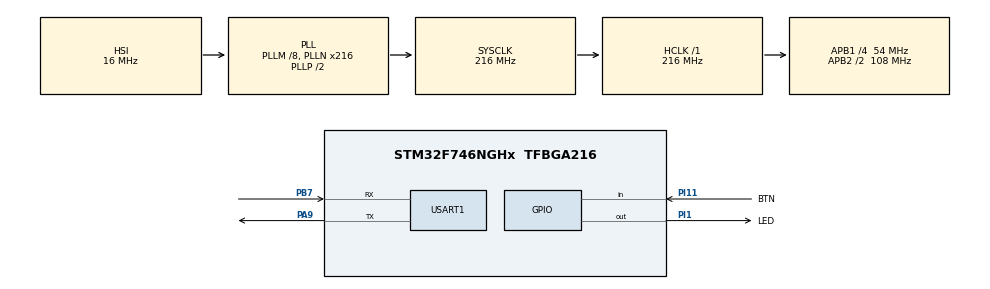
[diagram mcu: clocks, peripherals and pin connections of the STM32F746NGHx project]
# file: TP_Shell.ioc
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FREERTOS.Tasks01=defaultTask,0,128,StartDefaultTask,Default,NULL,Dynamic,NULL,NULL
FREERTOS.configCHECK_FOR_STACK_OVERFLOW=2
FREERTOS.configGENERATE_RUN_TIME_STATS=1
FREERTOS.configTOTAL_HEAP_SIZE=30720
FREERTOS.configUSE_NEWLIB_REENTRANT=1
FREERTOS.configUSE_STATS_FORMATTING_FUNCTIONS=1
FREERTOS.configUSE_TRACE_FACILITY=1
Mcu.Family=STM32F7
Mcu.Name=STM32F746NGHx
Mcu.Package=TFBGA216
NVIC.PriorityGroup=NVIC_PRIORITYGROUP_4
NVIC.USART1_IRQn=true\:5\:0\:false\:false\:true\:true\:true\:true\:true
PA13.Mode=Trace_Asynchronous_SW
PA13.Signal=SYS_JTMS-SWDIO
PA14.Mode=Trace_Asynchronous_SW
PA14.Signal=SYS_JTCK-SWCLK
PA9.Mode=Asynchronous
PA9.Signal=USART1_TX
PB3.Mode=Trace_Asynchronous_SW
PB3.Signal=SYS_JTDO-SWO
PB7.Mode=Asynchronous
PB7.Signal=USART1_RX
PH0/OSC_IN.Mode=HSE-External-Oscillator
PH0/OSC_IN.Signal=RCC_OSC_IN
PH1/OSC_OUT.Mode=HSE-External-Oscillator
PH1/OSC_OUT.Signal=RCC_OSC_OUT
PI1.GPIO_Label=LED
PI1.Signal=GPIO_Output
PI11.GPIO_Label=BTN
PI11.Signal=GPIO_Input
ProjectManager.HeapSize=0x400
ProjectManager.StackSize=0x800
ProjectManager.TargetToolchain=STM32CubeIDE
RCC.AHBFreq_Value=216000000
RCC.APB1CLKDivider=RCC_HCLK_DIV4
RCC.APB1Freq_Value=54000000
RCC.APB1TimFreq_Value=108000000
RCC.APB2CLKDivider=RCC_HCLK_DIV2
RCC.APB2Freq_Value=108000000
RCC.APB2TimFreq_Value=216000000
RCC.CortexFreq_Value=216000000
RCC.HCLKFreq_Value=216000000
RCC.HSE_VALUE=25000000
RCC.HSI_VALUE=16000000
RCC.LSE_VALUE=32768
RCC.PLLM=8
RCC.PLLN=216
RCC.PLLSourceVirtual=RCC_PLLSOURCE_HSI
RCC.SYSCLKFreq_VALUE=216000000
RCC.SYSCLKSource=RCC_SYSCLKSOURCE_PLLCLK
RCC.USBFreq_Value=216000000
RCC.VCOOutputFreq_Value=432000000
TIM2.Period=0xffffffff
TIM2.Prescaler=107
USART1.VirtualMode-Asynchronous=VM_ASYNC
VP_FREERTOS_VS_CMSIS_V1.Mode=CMSIS_V1
VP_TIM2_VS_ClockSourceINT.Mode=Internal
board=STM32F746G-DISCO

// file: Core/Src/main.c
/* USER CODE BEGIN Header */
/**
 ******************************************************************************
 * @file           : main.c
 * @brief          : Main program body
 ******************************************************************************
 * @attention
 *
 * Copyright (c) 2025 STMicroelectronics.
 * All rights reserved.
 *
 * This software is licensed under terms that can be found in the LICENSE file
 * in the root directory of this software component.
 * If no LICENSE file comes with this software, it is provided AS-IS.
 *
 ******************************************************************************
 */
/* USER CODE END Header */
#include "main.h"
#include "cmsis_os.h"
#include "tim.h"
#include "usart.h"
#include "gpio.h"

/* USER CODE BEGIN Includes */
#include "shell.h"
#include <stdio.h>
#include <stdlib.h>
#include <string.h>
/* USER CODE END Includes */

/* USER CODE BEGIN PV */
h_shell_t h_shell;

TaskHandle_t LedTaskHandle;
TaskHandle_t TaskGiveHandle;
TaskHandle_t TaskTakeHandle;
TaskHandle_t ShellTaskHandle;
TaskHandle_t ErrorTaskHandle;
xQueueHandle QueueTask;
/* USER CODE END PV */

void SystemClock_Config(void);
void MX_FREERTOS_Init(void);
/* USER CODE BEGIN PFP */
void StartLedTask(void *argument);
void TaskGive(void *argument);
void TaskTake(void *argument);
void taskShell(void *argument);
/* USER CODE END PFP */

/* USER CODE BEGIN 0 */

int __io_putchar(int ch)
{
	HAL_UART_Transmit(&huart1, (uint8_t*)&ch, 1, HAL_MAX_DELAY);

	return ch;
}

uint32_t led_delay_ms = 100;

void StartLedTask(void *argument) {
	uint8_t ledState = 0;
	printf("Entering LedTask\n");
	for (;;) {
		ledState = !ledState;
		HAL_GPIO_WritePin(LED_GPIO_Port, LED_Pin, ledState ? GPIO_PIN_SET : GPIO_PIN_RESET);
		//printf("LED : %s\r\n", ledState ? "ON" : "OFF");
		vTaskDelay(pdMS_TO_TICKS(led_delay_ms));
	}
}

void TaskGive(void *argument) {
	uint32_t delay = 100;
	for (;;) {
		printf("TaskGive: Sending delay value %lu to queue\r\n", delay);
		if (xQueueSend(QueueTask, &delay, pdMS_TO_TICKS(100)) != pdPASS) {
			printf("TaskGive: Failed to send delay value to queue\r\n");
		}
		delay += 100; // Increment delay
		vTaskDelay(pdMS_TO_TICKS(delay));
	}
}

void TaskTake(void *argument) {
	uint32_t receivedValue = 0;
	for (;;) {
		printf("TaskTake: Waiting to receive value from queue\r\n");
		if (xQueueReceive(QueueTask, &receivedValue, pdMS_TO_TICKS(1000)) == pdPASS) {
			printf("TaskTake: Received delay value %lu from queue\r\n", receivedValue);
		} else {
			printf("TaskTake: Failed to receive value from queue within 1000 ms. Triggering system reset.\r\n");
			vTaskDelay(pdMS_TO_TICKS(10));
			NVIC_SystemReset(); // Trigger reset
		}
	}
}

int sh_stats(h_shell_t * h_shell, int argc, char **argv) {
    char buffer[512];

    printf("=== Liste des taches ===\r\n");
    vTaskList(buffer);
    printf("%s\r\n", buffer);

    printf("=== Statistiques d'execution ===\r\n");
    vTaskGetRunTimeStats(buffer);
    printf("%s\r\n", buffer);

    return 0;
}

int sh_led(h_shell_t *h_shell, int argc, char **argv)
{
	static int bool = 1;
	int value = 0;

	if (argc == 2)
	{
		value = atoi(argv[1]);
		if (value >= 30)
		{
			led_delay_ms = value;
			printf("Value of Led Task %d\r\n", value);
		}
	}
	if (bool == 0 || (argc == 2 && value != 0))
	{
		vTaskResume(LedTaskHandle);
		bool = 1;
	}
	else
	{
		vTaskSuspend(LedTaskHandle);
		HAL_GPIO_WritePin(LED_GPIO_Port, LED_Pin,GPIO_PIN_RESET);
		bool = 0;
	}
	return 0;
}

void ShellTask(void *argument)
{
	for(;;)
	{
		shell_run(&h_shell); // Appelle ta fonction qui lit rx_buffer et traite les commandes
		vTaskDelay(pdMS_TO_TICKS(10)); // Petit délai pour éviter de saturer la CPU
	}
}

void ErrorTask(void *arg)
{
	static int size = 2;
	int *buffer = NULL;

    for(;;) {
    	printf("ErrorTask Malloc buffer size %d 0x%X\r\n", size, size);
    	buffer = (int *)pvPortMalloc(sizeof(int) * size);
    	if (buffer == NULL)
    	{
    		printf("ErroTask: Malloc erreur %d 0x%X\t\n", size, size);
    		break ;
    	}
    	else
    	{
    		size *= 2;
    		vPortFree(buffer);
    		buffer = NULL;

    	}
        vTaskDelay(pdMS_TO_TICKS(1000));
    }
}

void vOverflowTask(void *param)
{
    volatile uint8_t  buff[ configMINIMAL_STACK_SIZE / 4 ];

    for( ;; )
    {
        memset((void*)buff, 0xAA, sizeof(buff));
        vOverflowTask( NULL );
    }
}

void vApplicationStackOverflowHook( TaskHandle_t xTask, char *pcTaskName )
{
    //printf("STACK OVERFLOW detected in task: %s\r\n", pcTaskName);
    //Error_Handler();
}

void configureTimerForRunTimeStats(void) {
    HAL_TIM_Base_Start(&htim2);
}

unsigned long getRunTimeCounterValue(void) {
    return __HAL_TIM_GET_COUNTER(&htim2);
}

/* USER CODE END 0 */

int main(void)
{

  /* MCU Configuration--------------------------------------------------------*/

  /* Reset of all peripherals, Initializes the Flash interface and the Systick. */
  HAL_Init();

  /* Configure the system clock */
  SystemClock_Config();

  /* Initialize all configured peripherals */
  MX_GPIO_Init();
  MX_USART1_UART_Init();
  MX_TIM2_Init();
  /* USER CODE BEGIN 2 */
	shell_init(&h_shell);
	QueueTask = xQueueCreate(10, sizeof(uint32_t)); // Create the queue
	if (QueueTask == NULL) {
		printf("Failed to create queue\r\n");
		Error_Handler();
	}
	//xTaskCreate(TaskGive, "TaskGive", 128, NULL, tskIDLE_PRIORITY + 5, &TaskGiveHandle);
	//xTaskCreate(TaskTake, "TaskTake", 128, NULL, tskIDLE_PRIORITY + 5, &TaskTakeHandle);
	if (xTaskCreate(StartLedTask, "LedTask", 128, NULL, tskIDLE_PRIORITY + 5, &LedTaskHandle) != pdPASS ) {
		printf("Failed to create xTaskCreate LedTask\r\n");
		Error_Handler();
	}
	if (xTaskCreate(ShellTask, "ShellTask", 512, NULL, tskIDLE_PRIORITY + 5, &ShellTaskHandle) != pdPASS ) {
		printf("Failed to create xTaskCreate ShellTask\r\n");
		Error_Handler();
	}
	/*
	if (xTaskCreate(ErrorTask, "ErrorTask", 128, NULL, tskIDLE_PRIORITY + 5, &ErrorTaskHandle) != pdPASS ) {
		printf("Failed to create xTaskCreate ErrorTask\r\n");
		Error_Handler();
	}
	*/
    /*if (xTaskCreate( vOverflowTask, "overFlowTask", configMINIMAL_STACK_SIZE, NULL, tskIDLE_PRIORITY,  NULL) != pdPASS){
		printf("Failed to create xTaskCreate overFlowTask\r\n");
		Error_Handler();
    }*/
  /* USER CODE END 2 */

  /* Call init function for freertos objects (in cmsis_os2.c) */
  MX_FREERTOS_Init();

  /* Start scheduler */
  osKernelStart();

  /* We should never get here as control is now taken by the scheduler */

  /* Infinite loop */
	while (1)
	{

	}
}

void SystemClock_Config(void)
{
  RCC_OscInitTypeDef RCC_OscInitStruct = {0};
  RCC_ClkInitTypeDef RCC_ClkInitStruct = {0};

  /** Configure the main internal regulator output voltage
  */
  __HAL_RCC_PWR_CLK_ENABLE();
  __HAL_PWR_VOLTAGESCALING_CONFIG(PWR_REGULATOR_VOLTAGE_SCALE1);

  /** Initializes the RCC Oscillators according to the specified parameters
  * in the RCC_OscInitTypeDef structure.
  */
  RCC_OscInitStruct.OscillatorType = RCC_OSCILLATORTYPE_HSI;
  RCC_OscInitStruct.HSIState = RCC_HSI_ON;
  RCC_OscInitStruct.HSICalibrationValue = RCC_HSICALIBRATION_DEFAULT;
  RCC_OscInitStruct.PLL.PLLState = RCC_PLL_ON;
  RCC_OscInitStruct.PLL.PLLSource = RCC_PLLSOURCE_HSI;
  RCC_OscInitStruct.PLL.PLLM = 8;
  RCC_OscInitStruct.PLL.PLLN = 216;
  RCC_OscInitStruct.PLL.PLLP = RCC_PLLP_DIV2;
  RCC_OscInitStruct.PLL.PLLQ = 2;
  if (HAL_RCC_OscConfig(&RCC_OscInitStruct) != HAL_OK)
  {
    Error_Handler();
  }

  /** Activate the Over-Drive mode
  */
  if (HAL_PWREx_EnableOverDrive() != HAL_OK)
  {
    Error_Handler();
  }

  /** Initializes the CPU, AHB and APB buses clocks
  */
  RCC_ClkInitStruct.ClockType = RCC_CLOCKTYPE_HCLK|RCC_CLOCKTYPE_SYSCLK
                              |RCC_CLOCKTYPE_PCLK1|RCC_CLOCKTYPE_PCLK2;
  RCC_ClkInitStruct.SYSCLKSource = RCC_SYSCLKSOURCE_PLLCLK;
  RCC_ClkInitStruct.AHBCLKDivider = RCC_SYSCLK_DIV1;
  RCC_ClkInitStruct.APB1CLKDivider = RCC_HCLK_DIV4;
  RCC_ClkInitStruct.APB2CLKDivider = RCC_HCLK_DIV2;

  if (HAL_RCC_ClockConfig(&RCC_ClkInitStruct, FLASH_LATENCY_7) != HAL_OK)
  {
    Error_Handler();
  }
}

void Error_Handler(void)
{
	__disable_irq();
	while (1)
	{
	}
}

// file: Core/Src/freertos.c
/* USER CODE BEGIN Header */
/**
  ******************************************************************************
  * File Name          : freertos.c
  * Description        : Code for freertos applications
  ******************************************************************************
  * @attention
  *
  * Copyright (c) 2025 STMicroelectronics.
  * All rights reserved.
  *
  * This software is licensed under terms that can be found in the LICENSE file
  * in the root directory of this software component.
  * If no LICENSE file comes with this software, it is provided AS-IS.
  *
  ******************************************************************************
  */
/* USER CODE END Header */

#include "FreeRTOS.h"
#include "task.h"
#include "main.h"
#include "cmsis_os.h"

osThreadId defaultTaskHandle;

void StartDefaultTask(void const * argument);

void MX_FREERTOS_Init(void); /* (MISRA C 2004 rule 8.1) */

/* GetIdleTaskMemory prototype (linked to static allocation support) */
void vApplicationGetIdleTaskMemory( StaticTask_t **ppxIdleTaskTCBBuffer, StackType_t **ppxIdleTaskStackBuffer, uint32_t *pulIdleTaskStackSize );

/* Hook prototypes */
void configureTimerForRunTimeStats(void);
unsigned long getRunTimeCounterValue(void);
void vApplicationStackOverflowHook(xTaskHandle xTask, signed char *pcTaskName);

/* USER CODE BEGIN 1 */
/* Functions needed when configGENERATE_RUN_TIME_STATS is on */
__weak void configureTimerForRunTimeStats(void)
{

}

__weak unsigned long getRunTimeCounterValue(void)
{
return 0;
}
/* USER CODE END 1 */

/* USER CODE BEGIN 4 */
__weak void vApplicationStackOverflowHook(xTaskHandle xTask, signed char *pcTaskName)
{
   /* Run time stack overflow checking is performed if
   configCHECK_FOR_STACK_OVERFLOW is defined to 1 or 2. This hook function is
   called if a stack overflow is detected. */
}
/* USER CODE END 4 */

/* USER CODE BEGIN GET_IDLE_TASK_MEMORY */
static StaticTask_t xIdleTaskTCBBuffer;
static StackType_t xIdleStack[configMINIMAL_STACK_SIZE];

void vApplicationGetIdleTaskMemory( StaticTask_t **ppxIdleTaskTCBBuffer, StackType_t **ppxIdleTaskStackBuffer, uint32_t *pulIdleTaskStackSize )
{
  *ppxIdleTaskTCBBuffer = &xIdleTaskTCBBuffer;
  *ppxIdleTaskStackBuffer = &xIdleStack[0];
  *pulIdleTaskStackSize = configMINIMAL_STACK_SIZE;
  /* place for user code */
}
/* USER CODE END GET_IDLE_TASK_MEMORY */

void MX_FREERTOS_Init(void) {

  /* Create the thread(s) */
  /* definition and creation of defaultTask */
  osThreadDef(defaultTask, StartDefaultTask, osPriorityNormal, 0, 128);
  defaultTaskHandle = osThreadCreate(osThread(defaultTask), NULL);

}

void StartDefaultTask(void const * argument)
{
  for(;;)
  {
    osDelay(1);
  }
}
